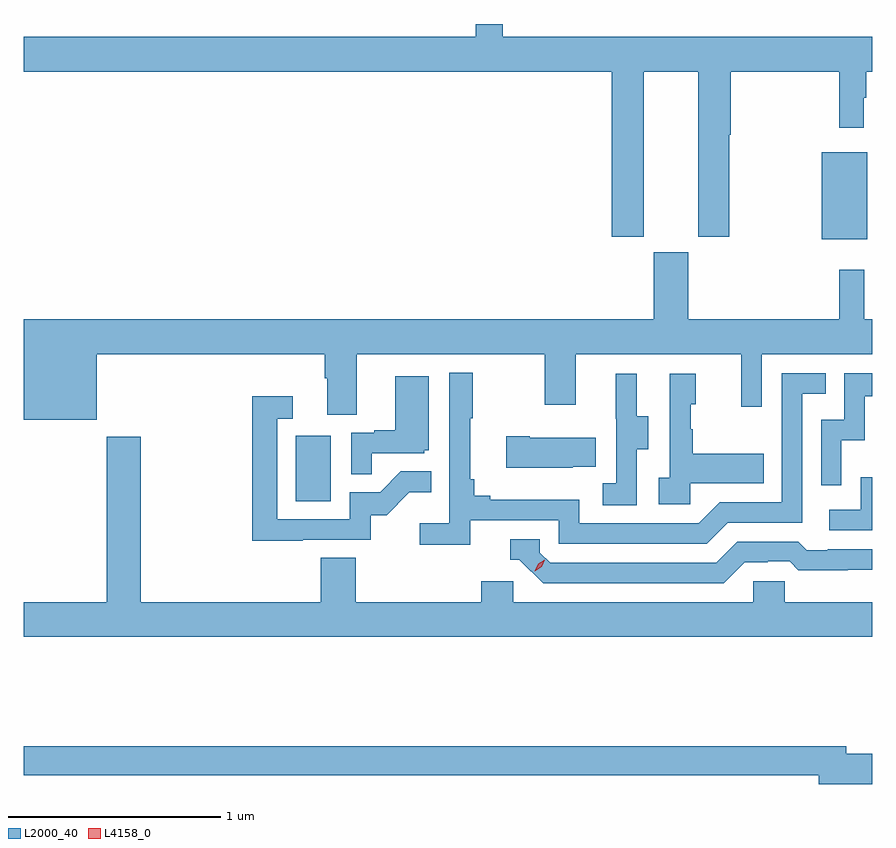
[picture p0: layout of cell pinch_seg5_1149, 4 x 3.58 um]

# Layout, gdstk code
import gdstk
lib = gdstk.Library(unit=1e-6, precision=1e-09)
def R(c, l, rs):  # rectangles x0, y0, x1, y1
    for r in rs: c.add(gdstk.rectangle(r[:2], r[2:], *l))
def P(c, l, *ps):  # polygons
    for p in ps: c.add(gdstk.Polygon(p, *l))
L2000_40 = (2000, 40)
L4158_0 = (4158, 0)

pinch_seg5_1149 = lib.new_cell('pinch_seg5_1149')
R(pinch_seg5_1149, L2000_40, [(852.854,834.756,853.018,835.063), (855.332,835.991,855.547,836.401)])
P(pinch_seg5_1149, L2000_40, [(854.494,836.78),(854.75,836.78),(854.75,836.001),(854.898,836.001),(854.898,836.484),(854.903,836.484),(854.903,836.78),(855.415,836.78),(855.415,836.517),(855.532,836.517),(855.532,836.657),(855.544,836.657),(855.544,836.78),(855.571,836.78),(855.571,836.944),(853.829,836.944),(853.829,837.005),(853.701,837.005),(853.701,836.944),(851.571,836.944),(851.571,836.78),(854.342,836.78),(854.342,836.001),(854.494,836.001)],
  [(851.914,835.448),(852.989,835.448),(852.989,835.336),(853.001,835.336),(853.001,835.162),(853.141,835.162),(853.141,835.448),(854.026,835.448),(854.026,835.209),(854.173,835.209),(854.173,835.448),(854.954,835.448),(854.954,835.2),(855.051,835.2),(855.051,835.448),(855.571,835.448),(855.571,835.612),(855.533,835.612),(855.533,835.846),(855.415,835.846),(855.415,835.612),(854.704,835.612),(854.704,835.929),(854.54,835.929),(854.54,835.612),(851.571,835.612),(851.571,835.139),(851.914,835.139)],
  [(853.676,834.666),(854.094,834.666),(854.094,834.555),(854.791,834.555),(854.89,834.654),(855.24,834.654),(855.24,835.263),(855.353,835.263),(855.353,835.359),(855.144,835.359),(855.144,834.75),(854.853,834.75),(854.754,834.651),(854.19,834.651),(854.19,834.763),(853.771,834.763),(853.771,834.782),(853.694,834.782),(853.694,834.859),(853.675,834.859),(853.675,835.147),(853.687,835.147),(853.687,835.36),(853.578,835.36),(853.578,834.652),(853.437,834.652),(853.437,834.55),(853.676,834.55)],
  [(855.426,835.043),(855.536,835.043),(855.536,835.251),(855.571,835.251),(855.571,835.359),(855.438,835.359),(855.438,835.14),(855.33,835.14),(855.33,834.831),(855.426,834.831)],
  [(854.46,835),(854.515,835),(854.515,835.155),(854.461,835.155),(854.461,835.357),(854.363,835.357),(854.363,835.143),(854.364,835.143),(854.364,834.839),(854.301,834.839),(854.301,834.736),(854.46,834.736)],
  [(854.712,834.839),(855.059,834.839),(855.059,834.979),(854.725,834.979),(854.725,835.094),(854.715,835.094),(854.715,835.212),(854.74,835.212),(854.74,835.357),(854.616,835.357),(854.616,834.866),(854.565,834.866),(854.565,834.741),(854.712,834.741)],
  [(853.211,834.981),(853.458,834.981),(853.458,834.996),(853.48,834.996),(853.48,835.345),(853.322,835.345),(853.322,835.09),(853.223,835.09),(853.223,835.077),(853.116,835.077),(853.116,834.883),(853.211,834.883)],
  [(852.887,834.573),(853.206,834.573),(853.206,834.69),(853.282,834.69),(853.389,834.797),(853.493,834.797),(853.493,834.896),(853.349,834.896),(853.251,834.798),(853.107,834.798),(853.107,834.669),(852.765,834.669),(852.765,835.143),(852.838,835.143),(852.838,835.249),(852.649,835.249),(852.649,834.568),(852.887,834.568)],
  [(854.159,834.917),(854.267,834.917),(854.267,835.054),(853.957,835.054),(853.957,835.062),(853.845,835.062),(853.845,834.914),(854.159,834.914)],
  [(855.571,834.28),(855.159,834.28),(855.159,834.378),(855.009,834.378),(855.009,834.28),(853.878,834.28),(853.878,834.378),(853.727,834.378),(853.727,834.28),(853.136,834.28),(853.136,834.488),(852.971,834.488),(852.971,834.28),(852.122,834.28),(852.122,835.06),(851.962,835.06),(851.962,834.28),(851.571,834.28),(851.571,834.116),(855.571,834.116)],
  [(855.571,834.868),(855.516,834.868),(855.516,834.714),(855.369,834.714),(855.369,834.618),(855.571,834.618)],
  [(854.971,834.468),(855.078,834.468),(855.078,834.471),(855.181,834.471),(855.223,834.429),(855.456,834.429),(855.456,834.431),(855.571,834.431),(855.571,834.528),(855.361,834.528),(855.361,834.525),(855.262,834.525),(855.223,834.564),(854.934,834.564),(854.835,834.465),(854.052,834.465),(854.004,834.513),(854.004,834.576),(853.865,834.576),(853.865,834.48),(853.908,834.48),(854.019,834.369),(854.872,834.369)],
  [(855.571,833.564),(855.448,833.564),(855.448,833.6),(851.571,833.6),(851.571,833.464),(855.32,833.464),(855.32,833.422),(855.571,833.422)])
P(pinch_seg5_1149, L4158_0, [(853.981,834.426),(853.981,834.427),(853.997,834.46),(854.028,834.479),(854.028,834.479),(854.028,834.479),(854.012,834.446),(853.981,834.426)])

lib.write_gds('pinch_seg5_1149.gds')
